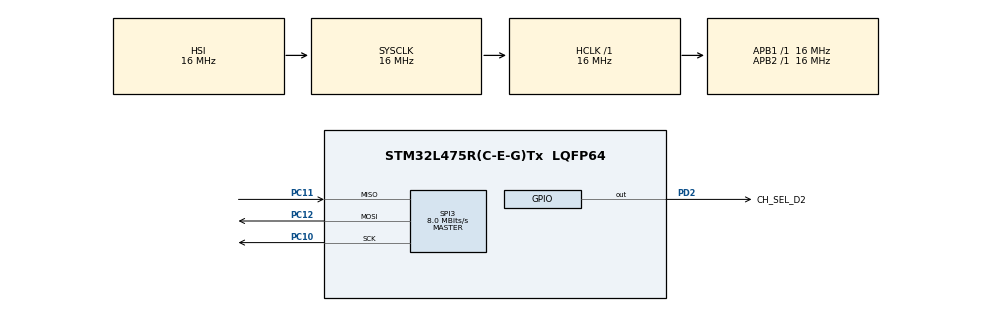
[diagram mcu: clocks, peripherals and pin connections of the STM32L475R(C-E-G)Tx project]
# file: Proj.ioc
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Mcu.Family=STM32L4
Mcu.Name=STM32L475R(C-E-G)Tx
Mcu.Package=LQFP64
NVIC.PriorityGroup=NVIC_PRIORITYGROUP_4
PC10.Mode=Full_Duplex_Master
PC10.Signal=SPI3_SCK
PC11.Mode=Full_Duplex_Master
PC11.Signal=SPI3_MISO
PC12.Mode=Full_Duplex_Master
PC12.Signal=SPI3_MOSI
PD2.GPIO_Label=CH_SEL_D2
PD2.Signal=GPIO_Output
ProjectManager.HeapSize=0x200
ProjectManager.StackSize=0x400
ProjectManager.TargetToolchain=TrueSTUDIO
RCC.AHBFreq_Value=16000000
RCC.APB1Freq_Value=16000000
RCC.APB1TimFreq_Value=16000000
RCC.APB2Freq_Value=16000000
RCC.APB2TimFreq_Value=16000000
RCC.CortexFreq_Value=16000000
RCC.HCLKFreq_Value=16000000
RCC.HSE_VALUE=8000000
RCC.HSI_VALUE=16000000
RCC.LSE_VALUE=32768
RCC.MSI_VALUE=4000000
RCC.SYSCLKFreq_VALUE=16000000
RCC.SYSCLKSource=RCC_SYSCLKSOURCE_HSI
RCC.VCOOutputFreq_Value=32000000
SPI3.CalculateBaudRate=8.0 MBits/s
SPI3.Direction=SPI_DIRECTION_2LINES
SPI3.Mode=SPI_MODE_MASTER
SPI3.VirtualType=VM_MASTER
board=custom

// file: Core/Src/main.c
/* USER CODE BEGIN Header */
/**
  ******************************************************************************
  * @file           : main.c
  * @brief          : Main program body
  ******************************************************************************
  * @attention
  *
  * <h2><center>&copy; Copyright (c) 2021 STMicroelectronics.
  * All rights reserved.</center></h2>
  *
  * This software component is licensed by ST under BSD 3-Clause license,
  * the "License"; You may not use this file except in compliance with the
  * License. You may obtain a copy of the License at:
  *                        opensource.org/licenses/BSD-3-Clause
  *
  ******************************************************************************
  */
/* USER CODE END Header */
#include "main.h"

SPI_HandleTypeDef hspi3;

/* USER CODE BEGIN PV */
#define cs_set() HAL_GPIO_WritePin(GPIOD, GPIO_PIN_0, GPIO_PIN_RESET)
#define cs_reset() HAL_GPIO_WritePin(GPIOD, GPIO_PIN_0, GPIO_PIN_SET)
#define cs_strob() cs_reset();cs_set()
uint8_t aTxBuffer[1]={0};

/* USER CODE END PV */

void SystemClock_Config(void);
static void MX_GPIO_Init(void);
static void MX_SPI3_Init(void);

int main(void)
{

  /* MCU Configuration--------------------------------------------------------*/

  /* Reset of all peripherals, Initializes the Flash interface and the Systick. */
  HAL_Init();

  /* Configure the system clock */
  SystemClock_Config();

  /* Initialize all configured peripherals */
  MX_GPIO_Init();
  MX_SPI3_Init();
  /* USER CODE BEGIN 2 */
	cs_set();
	aTxBuffer[0]=0x01;
	HAL_SPI_Transmit (&hspi3, (uint8_t*)aTxBuffer, 1, 5000);
	cs_strob();
	HAL_Delay(100);
	aTxBuffer[0]=0xFF;
	HAL_SPI_Transmit (&hspi3, (uint8_t*)aTxBuffer, 1, 5000);
	cs_strob();
	HAL_Delay(100);

  /* USER CODE END 2 */

  /* Infinite loop */
  /* USER CODE BEGIN WHILE */
  while (1)
  {
		for(int i=0;i<=255;i++)
		{
			aTxBuffer[0]=i;
			HAL_SPI_Transmit (&hspi3, (uint8_t*)aTxBuffer, 1, 5000);
			cs_strob();
			//HAL_Delay(1);
		}

    /* USER CODE END WHILE */

  }
}

void SystemClock_Config(void)
{
  RCC_OscInitTypeDef RCC_OscInitStruct = {0};
  RCC_ClkInitTypeDef RCC_ClkInitStruct = {0};

  /** Initializes the RCC Oscillators according to the specified parameters
  * in the RCC_OscInitTypeDef structure.
  */
  RCC_OscInitStruct.OscillatorType = RCC_OSCILLATORTYPE_HSI;
  RCC_OscInitStruct.HSIState = RCC_HSI_ON;
  RCC_OscInitStruct.HSICalibrationValue = RCC_HSICALIBRATION_DEFAULT;
  RCC_OscInitStruct.PLL.PLLState = RCC_PLL_NONE;
  if (HAL_RCC_OscConfig(&RCC_OscInitStruct) != HAL_OK)
  {
    Error_Handler();
  }
  /** Initializes the CPU, AHB and APB buses clocks
  */
  RCC_ClkInitStruct.ClockType = RCC_CLOCKTYPE_HCLK|RCC_CLOCKTYPE_SYSCLK
                              |RCC_CLOCKTYPE_PCLK1|RCC_CLOCKTYPE_PCLK2;
  RCC_ClkInitStruct.SYSCLKSource = RCC_SYSCLKSOURCE_HSI;
  RCC_ClkInitStruct.AHBCLKDivider = RCC_SYSCLK_DIV1;
  RCC_ClkInitStruct.APB1CLKDivider = RCC_HCLK_DIV1;
  RCC_ClkInitStruct.APB2CLKDivider = RCC_HCLK_DIV1;

  if (HAL_RCC_ClockConfig(&RCC_ClkInitStruct, FLASH_LATENCY_0) != HAL_OK)
  {
    Error_Handler();
  }
  /** Configure the main internal regulator output voltage
  */
  if (HAL_PWREx_ControlVoltageScaling(PWR_REGULATOR_VOLTAGE_SCALE1) != HAL_OK)
  {
    Error_Handler();
  }
}

static void MX_SPI3_Init(void)
{

  /* SPI3 parameter configuration*/
  hspi3.Instance = SPI3;
  hspi3.Init.Mode = SPI_MODE_MASTER;
  hspi3.Init.Direction = SPI_DIRECTION_2LINES;
  hspi3.Init.DataSize = SPI_DATASIZE_4BIT;
  hspi3.Init.CLKPolarity = SPI_POLARITY_LOW;
  hspi3.Init.CLKPhase = SPI_PHASE_1EDGE;
  hspi3.Init.NSS = SPI_NSS_SOFT;
  hspi3.Init.BaudRatePrescaler = SPI_BAUDRATEPRESCALER_2;
  hspi3.Init.FirstBit = SPI_FIRSTBIT_MSB;
  hspi3.Init.TIMode = SPI_TIMODE_DISABLE;
  hspi3.Init.CRCCalculation = SPI_CRCCALCULATION_DISABLE;
  hspi3.Init.CRCPolynomial = 7;
  hspi3.Init.CRCLength = SPI_CRC_LENGTH_DATASIZE;
  hspi3.Init.NSSPMode = SPI_NSS_PULSE_ENABLE;
  if (HAL_SPI_Init(&hspi3) != HAL_OK)
  {
    Error_Handler();
  }

}

static void MX_GPIO_Init(void)
{
  GPIO_InitTypeDef GPIO_InitStruct = {0};

  /* GPIO Ports Clock Enable */
  __HAL_RCC_GPIOC_CLK_ENABLE();
  __HAL_RCC_GPIOD_CLK_ENABLE();

  /*Configure GPIO pin Output Level */
  HAL_GPIO_WritePin(CH_SEL_D2_GPIO_Port, CH_SEL_D2_Pin, GPIO_PIN_RESET);

  /*Configure GPIO pin : CH_SEL_D2_Pin */
  GPIO_InitStruct.Pin = CH_SEL_D2_Pin;
  GPIO_InitStruct.Mode = GPIO_MODE_OUTPUT_PP;
  GPIO_InitStruct.Pull = GPIO_NOPULL;
  GPIO_InitStruct.Speed = GPIO_SPEED_FREQ_LOW;
  HAL_GPIO_Init(CH_SEL_D2_GPIO_Port, &GPIO_InitStruct);

}

void Error_Handler(void)
{
  __disable_irq();
  while (1)
  {
  }
}

/************************ (C) COPYRIGHT STMicroelectronics *****END OF FILE****/
